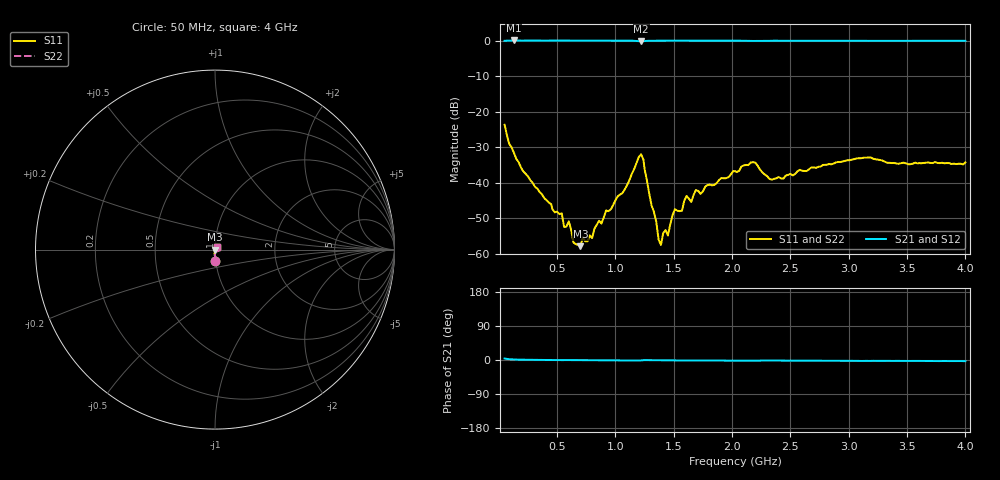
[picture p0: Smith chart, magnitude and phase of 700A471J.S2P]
!  American Technical Ceramics  Date:  3/13/98
!  One Norden Lane
!  Huntington Station,  NY.  11746-2102
!  Tel:  (516) 547-5700  Fax:  (516) 547-5748
!  Part Number  700A471J
!  Description: Porcelain, High Q, Low ESR
!  Application: Bypass, Coupling, Timing, Feedback
!  Tuning, Impedance Match, Blocking
# GHZ S DB R 50
! Freq  |S11|  S11 Ph  |S21|  S21 Ph  |S12|  S12 Ph  |S22|  S22 Ph
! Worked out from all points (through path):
!   201 points, 50 MHz to 4 GHz, reference 50 ohm
!   highest |S21| = 0.03 dB at 130 MHz (marker M1); lowest = -0.2 dB at 1.22 GHz (marker M2)
!   lowest |S11| = -57.8 dB at 700 MHz (marker M3), VSWR 1.00, Z = 49.9 - j0.00762 ohm
!   |S11| at or under -10 dB: start of sweep to end of sweep
!   |S22| runs from -57.8 to -23.7 dB; largest |S21 - S12| = 0
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0.05  -23.68 -89.9  -0.07 4.0  -0.07 4.0  -23.68 -89.9
0.13  -31.57 -93.0  0.03 1.2  0.03 1.2  -31.57 -93.0
0.54  -48.55 -123.8  0.00 -0.3  0.00 -0.3  -48.55 -123.8
0.56  -52.41 -135.5  -0.01 -0.2  -0.01 -0.2  -52.41 -135.5
0.6  -50.84 -138.8  -0.01 -0.2  -0.01 -0.2  -50.84 -138.8
0.64  -56.76 -160.5  -0.01 -0.3  -0.01 -0.3  -56.76 -160.5
0.7  -57.80 -176.6  0.01 -0.5  0.01 -0.5  -57.80 -176.6
0.72  -55.37 177.6  0.00 -0.5  0.00 -0.5  -55.37 177.6
0.8  -55.52 131.5  0.00 -0.6  0.00 -0.6  -55.52 131.5
1.22  -31.97 10.8  -0.23 -1.1  -0.23 -1.1  -31.97 10.8
1.37  -55.93 -32.7  -0.02 -0.6  -0.02 -0.6  -55.93 -32.7
1.45  -54.79 57.1  -0.02 -0.8  -0.02 -0.8  -54.79 57.1
1.51  -47.40 66.2  0.00 -1.1  0.00 -1.1  -47.40 66.2
1.57  -47.84 76.0  0.00 -1.1  0.00 -1.1  -47.84 76.0
1.61  -43.69 71.8  -0.01 -1.2  -0.01 -1.2  -43.69 71.8
1.65  -45.36 73.9  -0.03 -1.2  -0.03 -1.2  -45.36 73.9
2.03  -36.74 66.6  -0.02 -1.6  -0.02 -1.6  -36.74 66.6
2.18  -34.19 47.7  -0.11 -1.8  -0.11 -1.8  -34.19 47.7
2.34  -39.11 44.1  -0.07 -1.4  -0.07 -1.4  -39.11 44.1
2.7  -35.65 62.8  -0.04 -1.9  -0.04 -1.9  -35.65 62.8
3.35  -34.37 49.5  -0.07 -2.3  -0.07 -2.3  -34.37 49.5
4  -34.24 50.7  -0.07 -3.1  -0.07 -3.1  -34.24 50.7
